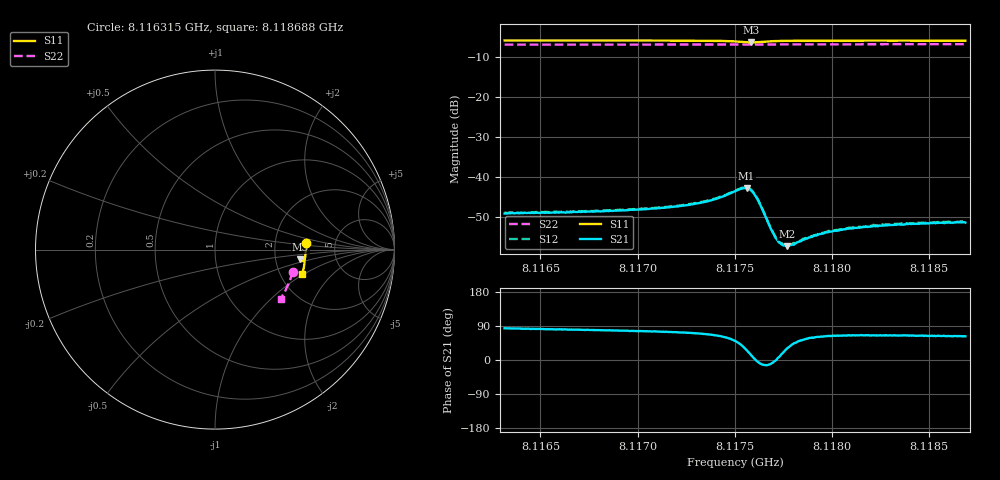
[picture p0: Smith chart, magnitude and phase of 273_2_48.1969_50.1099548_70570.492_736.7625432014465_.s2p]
#  HZ  S  RI  R  50.00
! Rohde & Schwarz Vector Network Analyzer
! Rohde-Schwarz,ZNB20-2Port,1311601062101988,3.16
! Created: UTC 3/20/2024, 11:48:15 AM
! freq[Hz]  re:S11  im:S11  re:S21  im:S21  re:S12  im:S12  re:S22  im:S22
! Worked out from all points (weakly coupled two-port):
!   401 points, 8.116315 GHz to 8.118688 GHz, reference 50 ohm
!   highest |S21| = -42.67 dB at 8.117561 GHz (marker M1); lowest = -57.2 dB at 8.117768 GHz (marker M2)
!   lowest |S11| = -6.4 dB at 8.117585 GHz (marker M3), VSWR 2.83, Z = 139 - j19.5 ohm
!   |S11| at or under -10 dB: nowhere
!   |S22| runs from -6.9 to -6.8 dB; largest |S21 - S12| = 0.00019
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8.1163154e9  0.5059 0.0347  0.000379 0.00352  0.000455 0.00359  0.4322 -0.1231
8.1167128e9  0.5064 0.00455  0.000673 0.00366  0.000683 0.00373  0.4249 -0.1497
8.1171101e9  0.5046 -0.0266  0.00109 0.00398  0.00117 0.00406  0.4159 -0.176
8.1172228e9  0.5035 -0.0361  0.0013 0.00419  0.00138 0.00423  0.413 -0.1832
8.1173414e9  0.5012 -0.0469  0.00179 0.00458  0.00185 0.00463  0.4098 -0.191
8.1174244e9  0.4975 -0.0554  0.00252 0.005  0.00264 0.0051  0.4073 -0.1964
8.1175015e9  0.4892 -0.063  0.00427 0.00516  0.00444 0.00524  0.4049 -0.2012
8.1175371e9  0.4821 -0.0635  0.00571 0.00446  0.00587 0.00447  0.4034 -0.2033
8.1175608e9  0.4772 -0.0603  0.00658 0.00328  0.00673 0.00322  0.4024 -0.2046
8.1175846e9  0.4752 -0.0542  0.00671 0.00154  0.00687 0.00148  0.4019 -0.2058
8.1176024e9  0.4768 -0.0496  0.00609 0.000304  0.00624 0.000231  0.4015 -0.2066
8.1176201e9  0.4805 -0.0465  0.00515 -0.000494  0.00524 -0.000596  0.4012 -0.2076
8.1176854e9  0.4932 -0.0497  0.00226 -0.00042  0.00231 -0.000434  0.4 -0.2118
8.117715e9  0.4958 -0.0536  0.00172 7.63e-06  0.00172 -1.12e-05  0.3991 -0.2138
8.1177388e9  0.4973 -0.0565  0.00142 0.000362  0.00147 0.000363  0.3985 -0.2153
8.1177684e9  0.498 -0.06  0.0012 0.000695  0.00121 0.000691  0.3976 -0.2173
8.1177981e9  0.4986 -0.0633  0.00109 0.00097  0.00112 0.000981  0.3967 -0.2192
8.1178989e9  0.4987 -0.0735  0.000923 0.00156  0.000982 0.00159  0.3935 -0.2256
8.117976e9  0.4981 -0.0802  0.000934 0.00184  0.00098 0.00186  0.391 -0.2305
8.1180709e9  0.4969 -0.0881  0.000973 0.00203  0.001 0.00208  0.3877 -0.2363
8.1182962e9  0.4935 -0.1057  0.00106 0.0023  0.00113 0.00233  0.3798 -0.2501
8.1186877e9  0.4861 -0.1347  0.00126 0.00241  0.00132 0.00249  0.365 -0.2732
